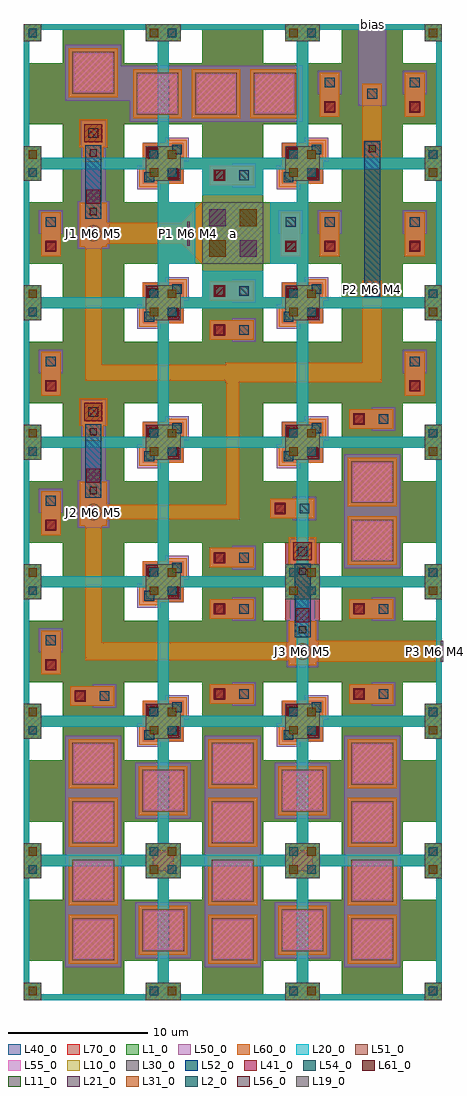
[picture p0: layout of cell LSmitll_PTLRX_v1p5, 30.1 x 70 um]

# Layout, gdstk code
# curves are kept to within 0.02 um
from math import pi, radians
import gdstk
lib = gdstk.Library(unit=1e-6, precision=1e-09)
def R(c, l, rs):  # rectangles x0, y0, x1, y1
    for r in rs: c.add(gdstk.rectangle(r[:2], r[2:], *l))
def A(c, l, x, y, w, h, nx, ny, dx, dy):  # array of equal rectangles
    R(c, l, [(x+i*dx, y+j*dy, x+i*dx+w, y+j*dy+h) for i in range(nx) for j in range(ny)])
def P(c, l, *ps):  # polygons
    for p in ps: c.add(gdstk.Polygon(p, *l))
L1_0 = (1, 0)
L2_0 = (2, 0)
L10_0 = (10, 0)
L11_0 = (11, 0)
L19_0 = (19, 0)
L20_0 = (20, 0)
L21_0 = (21, 0)
L30_0 = (30, 0)
L31_0 = (31, 0)
L40_0 = (40, 0)
L41_0 = (41, 0)
L50_0 = (50, 0)
L51_0 = (51, 0)
L52_0 = (52, 0)
L54_0 = (54, 0)
L55_0 = (55, 0)
L56_0 = (56, 0)
L60_0 = (60, 0)
L61_0 = (61, 0)
L70_0 = (70, 0)

ls_fakejj_3umx3um = lib.new_cell('ls_FakeJJ_3umx3um')
R(ls_fakejj_3umx3um, L40_0, [(-2,-2,2,2)])
R(ls_fakejj_3umx3um, L50_0, [(-2,-2,2,2)])
R(ls_fakejj_3umx3um, L51_0, [(-1.5,-1.5,1.5,1.5)])
R(ls_fakejj_3umx3um, L55_0, [(-1.4,-1.4,1.4,1.4)])
R(ls_fakejj_3umx3um, L60_0, [(-1.75,-1.75,1.75,1.75)])

ls_conn_m4m5m6m7 = lib.new_cell('ls_conn_M4M5M6M7')
R(ls_conn_m4m5m6m7, L40_0, [(0,0,1.4,1.4)])
R(ls_conn_m4m5m6m7, L41_0, [(0.3,0.3,1.1,1.1)])
P(ls_conn_m4m5m6m7, L50_0, [(3.3,1.55),(1.6,1.55),(1.6,1.4),(0,1.4),(0,0),(1.6,0),(1.6,-0.15),(3.3,-0.15)])
R(ls_conn_m4m5m6m7, L54_0, [(2.1,0.35,2.8,1.05)])
R(ls_conn_m4m5m6m7, L60_0, [(0,0,3.15,1.4)])
R(ls_conn_m4m5m6m7, L61_0, [(0.35,0.35,1.05,1.05)])
R(ls_conn_m4m5m6m7, L70_0, [(0,0,1.4,1.4)])

ls_conn_m4m5m6m7_block = lib.new_cell('ls_conn_M4M5M6M7_block')
R(ls_conn_m4m5m6m7_block, L40_0, [(-1.475,-1.475,1.475,1.475)])
R(ls_conn_m4m5m6m7_block, L41_0, [(0.375,-1.175,1.175,-0.375), (-1.175,0.375,-0.375,1.175)])
P(ls_conn_m4m5m6m7_block, L50_0, [(1.85,1.85),(0.15,1.85),(0.15,1.475),(-1.475,1.475),(-1.475,-0.15),(-1.85,-0.15),(-1.85,-1.85),(-0.15,-1.85),(-0.15,-1.475),(1.475,-1.475),(1.475,0.15),(1.85,0.15)])
R(ls_conn_m4m5m6m7_block, L54_0, [(-1.35,-1.35,-0.65,-0.65), (0.65,0.65,1.35,1.35)])
P(ls_conn_m4m5m6m7_block, L60_0, [(1.7,1.7),(0.3,1.7),(0.3,1.45),(-1.45,1.45),(-1.45,-0.3),(-1.7,-0.3),(-1.7,-1.7),(-0.3,-1.7),(-0.3,-1.45),(1.45,-1.45),(1.45,0.3),(1.7,0.3)])
R(ls_conn_m4m5m6m7_block, L61_0, [(0.35,-1.05,1.05,-0.35), (-1.05,0.35,-0.35,1.05)])
R(ls_conn_m4m5m6m7_block, L70_0, [(-1.45,-1.45,1.45,1.45)])

ls_conn_m5m6 = lib.new_cell('ls_conn_M5M6')
R(ls_conn_m5m6, L50_0, [(0,0,1.7,1.7)])
R(ls_conn_m5m6, L54_0, [(0.5,0.5,1.2,1.2)])
R(ls_conn_m5m6, L60_0, [(0.15,0.15,1.55,1.55)])

ls_ib_155 = lib.new_cell('ls_ib_155')
R(ls_ib_155, L52_0, [(-0.575,0,0.575,11.15)])
R(ls_ib_155, L56_0, [(-0.26,0.29,0.26,0.81), (-0.26,10.37,0.26,10.89)])
R(ls_ib_155, L60_0, [(-0.625,-0.1,0.625,1.175), (-0.625,10,0.625,11.25)])

ls_tr_ptlconnection = lib.new_cell('ls_tr_PTLconnection')
P(ls_tr_ptlconnection, L1_0, [(10,10),(7.2,10),(7.2,9.6),(8.75,9.6),(8.75,8.75),(9.6,8.75),(9.6,7.2),(7.2,7.2),(7.2,2.8),(9.6,2.8),(9.6,1.25),(8.75,1.25),(8.75,0.4),(7.2,0.4),(7.2,10),(1.25,10),(1.25,9.6),(2.8,9.6),(2.8,7.2),(0.4,7.2),(0.4,2.8),(2.8,2.8),(2.8,0.4),(1.25,0.4),(1.25,1.25),(0.4,1.25),(0.4,8.75),(1.25,8.75),(1.25,10),(0,10),(0,0),(10,0)])
R(ls_tr_ptlconnection, L2_0, [(9.05,0.35,9.65,0.95), (0.35,9.05,0.95,9.65)])
R(ls_tr_ptlconnection, L10_0, [(0,0,1.25,1.25), (8.75,0,10,1.25), (2.8,2.8,7.2,7.2), (0,8.75,1.25,10), (8.75,8.75,10,10)])
R(ls_tr_ptlconnection, L11_0, [(0.35,0.35,0.95,0.95), (3.3,3.3,4.5,4.5), (5.5,5.5,6.7,6.7), (9.05,9.05,9.65,9.65)])
R(ls_tr_ptlconnection, L20_0, [(2.8,2.8,7.2,7.2)])
P(ls_tr_ptlconnection, L20_0, [(10,10),(7.2,10),(7.2,9.6),(8.75,9.6),(8.75,8.75),(9.6,8.75),(9.6,7.2),(7.7,7.2),(7.7,2.8),(9.6,2.8),(9.6,1.25),(8.75,1.25),(8.75,0.4),(7.2,0.4),(7.2,2.3),(2.8,2.3),(2.8,0.4),(1.25,0.4),(1.25,1.25),(0.4,1.25),(0.4,2.8),(2.3,2.8),(2.3,7.2),(0.4,7.2),(0.4,8.75),(1.25,8.75),(1.25,9.6),(2.8,9.6),(2.8,7.7),(7.2,7.7),(7.2,10),(0,10),(0,0),(10,0)])
R(ls_tr_ptlconnection, L21_0, [(9.05,0.35,9.65,0.95), (5.5,3.3,6.7,4.5), (3.3,5.5,4.5,6.7), (0.35,9.05,0.95,9.65)])
R(ls_tr_ptlconnection, L30_0, [(0,0,1.25,1.25), (8.75,0,10,1.25), (2.8,2.8,7.2,7.2), (0,8.75,1.25,10), (8.75,8.75,10,10)])
R(ls_tr_ptlconnection, L31_0, [(0.35,0.35,0.95,0.95), (3.3,3.3,4.5,4.5), (5.5,5.5,6.7,6.7), (9.05,9.05,9.65,9.65)])
R(ls_tr_ptlconnection, L40_0, [(2.8,2.8,7.2,7.2)])
P(ls_tr_ptlconnection, L40_0, [(10,10),(7.2,10),(7.2,9.6),(8.75,9.6),(8.75,8.75),(9.6,8.75),(9.6,7.2),(7.7,7.2),(7.7,2.8),(9.6,2.8),(9.6,1.25),(8.75,1.25),(8.75,0.4),(7.2,0.4),(7.2,2.3),(2.8,2.3),(2.8,0.4),(1.25,0.4),(1.25,1.25),(0.4,1.25),(0.4,2.8),(2.3,2.8),(2.3,7.2),(0.4,7.2),(0.4,8.75),(1.25,8.75),(1.25,9.6),(2.8,9.6),(2.8,7.7),(7.2,7.7),(7.2,10),(0,10),(0,0),(10,0)])
R(ls_tr_ptlconnection, L41_0, [(5.5,3.3,6.7,4.5), (3.3,5.5,4.5,6.7)])
R(ls_tr_ptlconnection, L50_0, [(2.8,2.8,7.2,7.2)])
R(ls_tr_ptlconnection, L54_0, [(3.3,3.3,4.5,4.5), (5.5,5.5,6.7,6.7)])
R(ls_tr_ptlconnection, L60_0, [(2.8,2.8,7.2,7.2)])
P(ls_tr_ptlconnection, L70_0, [(10,10),(7.2,10),(7.2,9.6),(8.75,9.6),(8.75,8.75),(9.6,8.75),(9.6,7.2),(7.2,7.2),(7.2,2.8),(9.6,2.8),(9.6,1.25),(8.75,1.25),(8.75,0.4),(7.2,0.4),(7.2,10),(1.25,10),(1.25,9.6),(2.8,9.6),(2.8,7.2),(0.4,7.2),(0.4,2.8),(2.8,2.8),(2.8,0.4),(1.25,0.4),(1.25,1.25),(0.4,1.25),(0.4,8.75),(1.25,8.75),(1.25,10),(0,10),(0,0),(10,0)])

ls_conn_m5m6m7 = lib.new_cell('ls_conn_M5M6M7')
R(ls_conn_m5m6m7, L50_0, [(-0.5,-0.5,1.2,1.2)])
R(ls_conn_m5m6m7, L54_0, [(0,0,0.7,0.7)])
R(ls_conn_m5m6m7, L60_0, [(-0.65,-0.65,1.35,1.35)])
R(ls_conn_m5m6m7, L61_0, [(-0.3,-0.3,1,1)])
R(ls_conn_m5m6m7, L70_0, [(-0.65,-0.65,1.35,1.35)])

ls_jj_100_sg = lib.new_cell('ls_jj_100_sg')
R(ls_jj_100_sg, L41_0, [(-0.5,2.1,0.5,3.1)])
R(ls_jj_100_sg, L50_0, [(-1.125,-1.125,1.125,2.275), (-0.875,2.275,0.875,8.05)])
P(ls_jj_100_sg, L51_0, [(0,-0.59),(0.225,-0.545),(0.415,-0.42),(0.545,-0.225),(0.59,0),(0.545,0.225),(0.415,0.415),(0.225,0.54),(0,0.585),(-0.225,0.54),(-0.415,0.415),(-0.545,0.225),(-0.59,0),(-0.545,-0.225),(-0.415,-0.42),(-0.225,-0.545)])
R(ls_jj_100_sg, L52_0, [(-0.575,1.025,0.575,6.3)])
R(ls_jj_100_sg, L54_0, [(-0.35,6.825,0.35,7.525)])
P(ls_jj_100_sg, L55_0, [(0,-0.44),(0.17,-0.41),(0.31,-0.31),(0.4,-0.17),(0.44,0),(0.4,0.17),(0.31,0.31),(0.17,0.4),(0,0.45),(-0.17,0.4),(-0.31,0.31),(-0.4,0.17),(-0.44,0),(-0.4,-0.17),(-0.31,-0.31),(-0.17,-0.41)])
R(ls_jj_100_sg, L56_0, [(-0.26,1.29,0.26,1.81), (-0.26,5.49,0.26,6.01)])
R(ls_jj_100_sg, L60_0, [(-0.975,-0.975,0.975,2.175), (-0.725,5.125,0.725,7.9)])
ls_jj_100_sg.add(gdstk.Reference(ls_conn_m5m6m7, (-0.35,6.825)))

ls_tr_u_m4 = lib.new_cell('ls_tr_u_M4')
P(ls_tr_u_m4, L1_0, [(10,10),(7.2,10),(7.2,9.6),(8.75,9.6),(8.75,8.75),(9.6,8.75),(9.6,7.2),(7.2,7.2),(7.2,2.8),(9.6,2.8),(9.6,1.25),(8.75,1.25),(8.75,0.4),(7.2,0.4),(7.2,10),(1.25,10),(1.25,9.6),(2.8,9.6),(2.8,7.2),(0.4,7.2),(0.4,2.8),(2.8,2.8),(2.8,0.4),(1.25,0.4),(1.25,1.25),(0.4,1.25),(0.4,8.75),(1.25,8.75),(1.25,10),(0,10),(0,0),(10,0)])
R(ls_tr_u_m4, L2_0, [(9.05,0.35,9.65,0.95), (0.35,9.05,0.95,9.65)])
R(ls_tr_u_m4, L10_0, [(0,0,1.25,1.25), (8.75,0,10,1.25), (0,8.75,1.25,10), (8.75,8.75,10,10)])
R(ls_tr_u_m4, L11_0, [(0.35,0.35,0.95,0.95), (9.05,9.05,9.65,9.65)])
P(ls_tr_u_m4, L20_0, [(10,10),(1.25,10),(1.25,9.6),(8.75,9.6),(8.75,8.75),(9.6,8.75),(9.6,1.25),(8.75,1.25),(8.75,0.4),(1.25,0.4),(1.25,1.25),(0.4,1.25),(0.4,8.75),(1.25,8.75),(1.25,10),(0,10),(0,0),(10,0)])
R(ls_tr_u_m4, L21_0, [(9.05,0.35,9.65,0.95), (0.35,9.05,0.95,9.65)])
R(ls_tr_u_m4, L30_0, [(0,0,1.25,1.25), (8.75,0,10,1.25), (0,8.75,1.25,10), (8.75,8.75,10,10)])
R(ls_tr_u_m4, L31_0, [(0.35,0.35,0.95,0.95), (9.05,9.05,9.65,9.65)])
P(ls_tr_u_m4, L40_0, [(10,10),(7.2,10),(7.2,9.6),(8.75,9.6),(8.75,8.75),(9.6,8.75),(9.6,7.2),(7.2,7.2),(7.2,2.8),(9.6,2.8),(9.6,1.25),(8.75,1.25),(8.75,0.4),(7.2,0.4),(7.2,10),(1.25,10),(1.25,9.6),(2.8,9.6),(2.8,7.2),(0.4,7.2),(0.4,2.8),(2.8,2.8),(2.8,0.4),(1.25,0.4),(1.25,1.25),(0.4,1.25),(0.4,8.75),(1.25,8.75),(1.25,10),(0,10),(0,0),(10,0)])

ls_tr_m7 = lib.new_cell('ls_tr_M7')
P(ls_tr_m7, L70_0, [(10,10),(7.2,10),(7.2,9.6),(8.75,9.6),(8.75,8.75),(9.6,8.75),(9.6,7.2),(7.2,7.2),(7.2,2.8),(9.6,2.8),(9.6,1.25),(8.75,1.25),(8.75,0.4),(7.2,0.4),(7.2,10),(1.25,10),(1.25,9.6),(2.8,9.6),(2.8,7.2),(0.4,7.2),(0.4,2.8),(2.8,2.8),(2.8,0.4),(1.25,0.4),(1.25,1.25),(0.4,1.25),(0.4,8.75),(1.25,8.75),(1.25,10),(0,10),(0,0),(10,0)])

ls_fakejj_1p5x1p5um = lib.new_cell('ls_FakeJJ_1p5x1p5um')
R(ls_fakejj_1p5x1p5um, L40_0, [(-1.25,-1.25,1.25,1.25)])
R(ls_fakejj_1p5x1p5um, L50_0, [(-1.25,-1.25,1.25,1.25)])
R(ls_fakejj_1p5x1p5um, L51_0, [(-0.75,-0.75,0.75,0.75)])
R(ls_fakejj_1p5x1p5um, L55_0, [(-0.65,-0.65,0.65,0.65)])
R(ls_fakejj_1p5x1p5um, L60_0, [(-1,-1,1,1)])

lsmitll_ptlrx_v1p5 = lib.new_cell('LSmitll_PTLRX_v1p5')
R(lsmitll_ptlrx_v1p5, L19_0, [(24.75,50.725,25.25,51.225)])
R(lsmitll_ptlrx_v1p5, L40_0, [(18.75,27.2,21.25,32.8)])
A(lsmitll_ptlrx_v1p5, L50_0, 3, 6.35, 4, 0.2, 3, 3, 10, 4.2)
R(lsmitll_ptlrx_v1p5, L50_0, [(23,34.95,27,35.15), (11.6,63,11.8,67), (15.8,63,16,67), (7,64.5,7.6,67)])
P(lsmitll_ptlrx_v1p5, L60_0, [(12.8,57.2),(10.6,55),(12.8,52.8)])
R(lsmitll_ptlrx_v1p5, L70_0, [(18.75,27.2,21.25,32.8)])
lsmitll_ptlrx_v1p5.add(gdstk.FlexPath([(30,25.75),(30,24.25)], 0.2, ends="flush", simple_path=True, layer=19, datatype=0))  # L19_0
lsmitll_ptlrx_v1p5.add(gdstk.FlexPath([(11.825,55.825),(11.825,54.1)], 0.2, ends="flush", simple_path=True, layer=19, datatype=0))  # L19_0
lsmitll_ptlrx_v1p5.add(gdstk.FlexPath([(4.4,25),(19.1,25)], 1.3, ends="flush", simple_path=True, layer=60, datatype=0))  # L60_0
lsmitll_ptlrx_v1p5.add(gdstk.FlexPath([(5,34.175),(5,25.05)], 1.2, ends="flush", simple_path=True, layer=60, datatype=0))  # L60_0
lsmitll_ptlrx_v1p5.add(gdstk.FlexPath([(30,25),(20.875,25)], 1.5, ends="flush", simple_path=True, layer=60, datatype=0))  # L60_0
lsmitll_ptlrx_v1p5.add(gdstk.FlexPath([(15.475,35),(5.95,35)], 1.05, ends="flush", simple_path=True, layer=60, datatype=0))  # L60_0
lsmitll_ptlrx_v1p5.add(gdstk.FlexPath([(25,44.3),(25,51.6)], 1.4, ends="flush", simple_path=True, layer=60, datatype=0))  # L60_0
lsmitll_ptlrx_v1p5.add(gdstk.FlexPath([(14.5,45),(25.45,45)], 1.4, ends="flush", simple_path=True, layer=60, datatype=0))  # L60_0
lsmitll_ptlrx_v1p5.add(gdstk.FlexPath([(15,45),(15,34.9)], 0.95, ends="flush", simple_path=True, layer=60, datatype=0))  # L60_0
lsmitll_ptlrx_v1p5.add(gdstk.FlexPath([(4.4,45),(15.75,45)], 1.15, ends="flush", simple_path=True, layer=60, datatype=0))  # L60_0
lsmitll_ptlrx_v1p5.add(gdstk.FlexPath([(5,54.125),(5,44.7)], 1.2, ends="flush", simple_path=True, layer=60, datatype=0))  # L60_0
lsmitll_ptlrx_v1p5.add(gdstk.FlexPath([(5.9,55),(11.65,55)], 1.5, ends="flush", simple_path=True, layer=60, datatype=0))  # L60_0
lsmitll_ptlrx_v1p5.add(gdstk.FlexPath([(25,65),(25,60.425)], 1.4, ends="flush", simple_path=True, layer=60, datatype=0))  # L60_0
lsmitll_ptlrx_v1p5.add(gdstk.FlexPath([(25,64.15),(25,70)], 2, ends="flush", simple_path=True, layer=50, datatype=0))  # L50_0
lsmitll_ptlrx_v1p5.add(gdstk.Reference(ls_fakejj_3umx3um, (9.6,65)))
lsmitll_ptlrx_v1p5.add(gdstk.Reference(ls_fakejj_3umx3um, (13.8,65)))
lsmitll_ptlrx_v1p5.add(gdstk.Reference(ls_fakejj_3umx3um, (10,15)))
lsmitll_ptlrx_v1p5.add(gdstk.Reference(ls_fakejj_3umx3um, (5,4.35)))
lsmitll_ptlrx_v1p5.add(gdstk.Reference(ls_fakejj_3umx3um, (5,8.55)))
lsmitll_ptlrx_v1p5.add(gdstk.Reference(ls_fakejj_3umx3um, (5,12.75)))
lsmitll_ptlrx_v1p5.add(gdstk.Reference(ls_conn_m4m5m6m7, (17.7,34.55)))
lsmitll_ptlrx_v1p5.add(gdstk.Reference(ls_conn_m4m5m6m7, (13.35,31.025)))
lsmitll_ptlrx_v1p5.add(gdstk.Reference(ls_conn_m4m5m6m7, (13.35,27.35)))
lsmitll_ptlrx_v1p5.add(gdstk.Reference(ls_conn_m4m5m6m7, (23.35,40.975)))
lsmitll_ptlrx_v1p5.add(gdstk.Reference(ls_conn_m4m5m6m7, (2.65,43.35), rotation=pi/2))
lsmitll_ptlrx_v1p5.add(gdstk.Reference(ls_conn_m4m5m6m7, (2.65,53.35), rotation=pi/2))
lsmitll_ptlrx_v1p5.add(gdstk.Reference(ls_conn_m4m5m6m7, (22.65,63.35), rotation=pi/2))
lsmitll_ptlrx_v1p5.add(gdstk.Reference(ls_conn_m4m5m6m7, (28.75,63.35), rotation=pi/2))
lsmitll_ptlrx_v1p5.add(gdstk.Reference(ls_conn_m4m5m6m7, (28.75,43.35), rotation=pi/2))
lsmitll_ptlrx_v1p5.add(gdstk.Reference(ls_conn_m4m5m6m7, (28.75,53.35), rotation=pi/2))
lsmitll_ptlrx_v1p5.add(gdstk.Reference(ls_conn_m4m5m6m7, (22.65,53.35), rotation=pi/2))
lsmitll_ptlrx_v1p5.add(gdstk.Reference(ls_conn_m4m5m6m7, (19.85,53.35), rotation=pi/2))
lsmitll_ptlrx_v1p5.add(gdstk.Reference(ls_conn_m4m5m6m7, (2.65,33.35), rotation=pi/2))
lsmitll_ptlrx_v1p5.add(gdstk.Reference(ls_conn_m4m5m6m7, (2.65,23.35), rotation=pi/2))
lsmitll_ptlrx_v1p5.add(gdstk.Reference(ls_conn_m4m5m6m7, (23.35,27.35)))
lsmitll_ptlrx_v1p5.add(gdstk.Reference(ls_conn_m4m5m6m7, (23.35,21.25)))
lsmitll_ptlrx_v1p5.add(gdstk.Reference(ls_conn_m4m5m6m7, (3.35,21.1)))
lsmitll_ptlrx_v1p5.add(gdstk.Reference(ls_conn_m4m5m6m7, (13.35,21.25)))
lsmitll_ptlrx_v1p5.add(gdstk.Reference(ls_conn_m4m5m6m7, (13.35,47.35)))
lsmitll_ptlrx_v1p5.add(gdstk.Reference(ls_conn_m4m5m6m7, (13.35,50.15)))
lsmitll_ptlrx_v1p5.add(gdstk.Reference(ls_conn_m4m5m6m7_block, (10,20)))
lsmitll_ptlrx_v1p5.add(gdstk.Reference(ls_conn_m4m5m6m7_block, (20,20)))
lsmitll_ptlrx_v1p5.add(gdstk.Reference(ls_conn_m4m5m6m7_block, (20,40)))
lsmitll_ptlrx_v1p5.add(gdstk.Reference(ls_conn_m4m5m6m7_block, (10,40)))
lsmitll_ptlrx_v1p5.add(gdstk.Reference(ls_conn_m4m5m6m7_block, (10,50)))
lsmitll_ptlrx_v1p5.add(gdstk.Reference(ls_conn_m4m5m6m7_block, (20,50)))
lsmitll_ptlrx_v1p5.add(gdstk.Reference(ls_conn_m4m5m6m7_block, (20,60)))
lsmitll_ptlrx_v1p5.add(gdstk.Reference(ls_conn_m4m5m6m7_block, (10,60)))
lsmitll_ptlrx_v1p5.add(gdstk.Reference(ls_conn_m5m6, (24.15,64.15)))
lsmitll_ptlrx_v1p5.add(gdstk.Reference(ls_ib_155, (25,50.425)))
lsmitll_ptlrx_v1p5.add(gdstk.Reference(ls_tr_ptlconnection, (10,50)))
lsmitll_ptlrx_v1p5.add(gdstk.Reference(ls_jj_100_sg, (5,35), rotation=pi, x_reflection=True))
lsmitll_ptlrx_v1p5.add(gdstk.Reference(ls_jj_100_sg, (20,25)))
lsmitll_ptlrx_v1p5.add(gdstk.Reference(ls_jj_100_sg, (5,55)))
lsmitll_ptlrx_v1p5.add(gdstk.Reference(ls_tr_u_m4, (0,60)))
lsmitll_ptlrx_v1p5.add(gdstk.Reference(ls_tr_u_m4, (0,40)))
lsmitll_ptlrx_v1p5.add(gdstk.Reference(ls_tr_u_m4, (0,30)))
lsmitll_ptlrx_v1p5.add(gdstk.Reference(ls_tr_u_m4, (0,20)))
lsmitll_ptlrx_v1p5.add(gdstk.Reference(ls_tr_u_m4, (0,10)))
lsmitll_ptlrx_v1p5.add(gdstk.Reference(ls_tr_u_m4, (0,0)))
lsmitll_ptlrx_v1p5.add(gdstk.Reference(ls_tr_u_m4, (10,0)))
lsmitll_ptlrx_v1p5.add(gdstk.Reference(ls_tr_u_m4, (10,10)))
lsmitll_ptlrx_v1p5.add(gdstk.Reference(ls_tr_u_m4, (10,20)))
lsmitll_ptlrx_v1p5.add(gdstk.Reference(ls_tr_u_m4, (10,30)))
lsmitll_ptlrx_v1p5.add(gdstk.Reference(ls_tr_u_m4, (10,40)))
lsmitll_ptlrx_v1p5.add(gdstk.Reference(ls_tr_u_m4, (0,50)))
lsmitll_ptlrx_v1p5.add(gdstk.Reference(ls_tr_u_m4, (10,60)))
lsmitll_ptlrx_v1p5.add(gdstk.Reference(ls_tr_u_m4, (20,60)))
lsmitll_ptlrx_v1p5.add(gdstk.Reference(ls_tr_u_m4, (20,50)))
lsmitll_ptlrx_v1p5.add(gdstk.Reference(ls_tr_u_m4, (20,40)))
lsmitll_ptlrx_v1p5.add(gdstk.Reference(ls_tr_u_m4, (20,30)))
lsmitll_ptlrx_v1p5.add(gdstk.Reference(ls_tr_u_m4, (20,20)))
lsmitll_ptlrx_v1p5.add(gdstk.Reference(ls_tr_u_m4, (20,10)))
lsmitll_ptlrx_v1p5.add(gdstk.Reference(ls_tr_u_m4, (20,0)))
lsmitll_ptlrx_v1p5.add(gdstk.Reference(ls_conn_m4m5m6m7_block, (10,30)))
lsmitll_ptlrx_v1p5.add(gdstk.Reference(ls_conn_m4m5m6m7, (13.35,58.45)))
r = gdstk.Reference(ls_tr_m7, (0,0)); r.repetition = gdstk.Repetition(3, 7, v1=(10,0), v2=(0,10)); lsmitll_ptlrx_v1p5.add(r)
lsmitll_ptlrx_v1p5.add(gdstk.Reference(ls_fakejj_1p5x1p5um, (10,10)))
lsmitll_ptlrx_v1p5.add(gdstk.Reference(ls_fakejj_1p5x1p5um, (20,10)))
lsmitll_ptlrx_v1p5.add(gdstk.Reference(ls_fakejj_3umx3um, (5,16.95)))
lsmitll_ptlrx_v1p5.add(gdstk.Reference(ls_fakejj_3umx3um, (15,16.95)))
lsmitll_ptlrx_v1p5.add(gdstk.Reference(ls_fakejj_3umx3um, (15,12.75)))
lsmitll_ptlrx_v1p5.add(gdstk.Reference(ls_fakejj_3umx3um, (15,8.55)))
lsmitll_ptlrx_v1p5.add(gdstk.Reference(ls_fakejj_3umx3um, (15,4.35)))
lsmitll_ptlrx_v1p5.add(gdstk.Reference(ls_fakejj_3umx3um, (25,4.35)))
lsmitll_ptlrx_v1p5.add(gdstk.Reference(ls_fakejj_3umx3um, (25,8.55)))
lsmitll_ptlrx_v1p5.add(gdstk.Reference(ls_fakejj_3umx3um, (25,12.75)))
lsmitll_ptlrx_v1p5.add(gdstk.Reference(ls_fakejj_3umx3um, (25,16.95)))
lsmitll_ptlrx_v1p5.add(gdstk.Reference(ls_fakejj_3umx3um, (20,15)))
lsmitll_ptlrx_v1p5.add(gdstk.Reference(ls_fakejj_3umx3um, (20,5)))
lsmitll_ptlrx_v1p5.add(gdstk.Reference(ls_fakejj_3umx3um, (10,5)))
lsmitll_ptlrx_v1p5.add(gdstk.Reference(ls_fakejj_3umx3um, (25,37.15)))
lsmitll_ptlrx_v1p5.add(gdstk.Reference(ls_fakejj_3umx3um, (25,32.95)))
lsmitll_ptlrx_v1p5.add(gdstk.Reference(ls_fakejj_3umx3um, (5,66.5)))
lsmitll_ptlrx_v1p5.add(gdstk.Reference(ls_fakejj_3umx3um, (18,65)))
lsmitll_ptlrx_v1p5.add(gdstk.Label('J2 M6 M5', (4.975,34.95), layer=182, texttype=0))
lsmitll_ptlrx_v1p5.add(gdstk.Label('J3 M6 M5', (19.975,24.975), layer=182, texttype=0))
lsmitll_ptlrx_v1p5.add(gdstk.Label('P3 M6 M4', (30,25), layer=182, texttype=0))
lsmitll_ptlrx_v1p5.add(gdstk.Label('P2 M6 M4', (25,50.975), layer=182, texttype=0))
lsmitll_ptlrx_v1p5.add(gdstk.Label('P1 M6 M4', (11.825,54.95), layer=182, texttype=0))
lsmitll_ptlrx_v1p5.add(gdstk.Label('J1 M6 M5', (5,55), layer=182, texttype=0))
lsmitll_ptlrx_v1p5.add(gdstk.Label('bias', (25,70), layer=182, texttype=0))
lsmitll_ptlrx_v1p5.add(gdstk.Label('a', (15.05,55), layer=182, texttype=0))
lsmitll_ptlrx_v1p5.add(gdstk.Label('q', (30,25.025), layer=182, texttype=0))

lib.write_gds('LSmitll_PTLRX_v1p5.gds')
